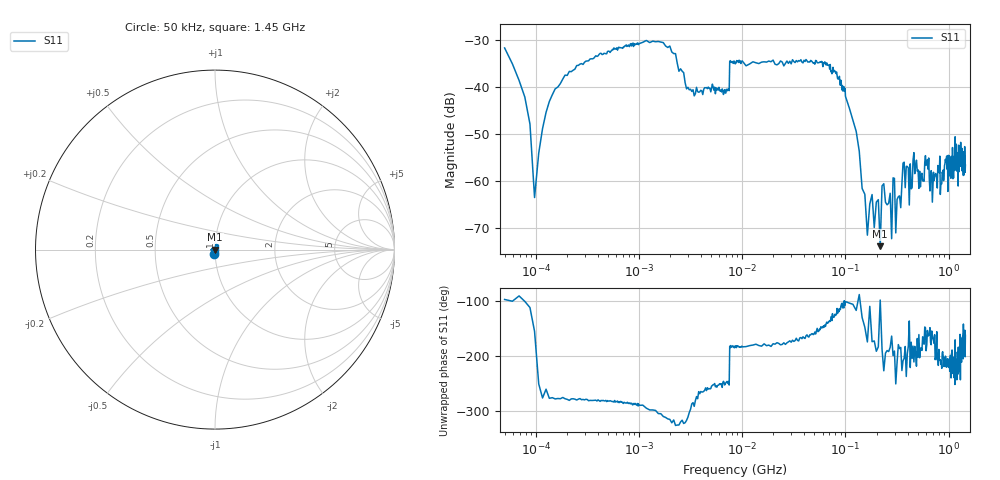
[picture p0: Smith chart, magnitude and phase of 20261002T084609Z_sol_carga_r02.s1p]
! piloto_deriva / sol_carga / r02
# HZ S RI R 50
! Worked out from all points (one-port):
!   501 points, 50 kHz to 1.45 GHz, reference 50 ohm
!   lowest |S11| = -73.9 dB at 217 MHz (marker M1), VSWR 1.00, Z = 50 - j0.0201 ohm
!   |S11| at or under -10 dB: start of sweep to end of sweep
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50000  -0.0029 -0.0261
107000  -0.000671 0.00187
183000  0.00104 0.0122
658000  0.00564 0.0259
1540000  0.0173 0.0254
2440000  0.0122 0.00849
3340000  0.00233 0.00913
6760000  -0.0029 0.00898
7750000  -0.0189 0.000111
8560000  -0.0178 0.000475
3.16e7  -0.0187 -0.00238
7.75e7  -0.00947 -0.0118
1.18e8  -0.00117 -0.00432
1.72e8  -0.000185 -0.000541
2.17e8  -2.6e-05 -0.000201
3.25e8  -0.000682 -1.7e-05
3.7e8  -0.00146 0.000636
4.06e8  -0.00138 4.4e-05
4.69e8  -0.0012 3.7e-05
5.5e8  -0.0012 0.000193
6.04e8  -0.00145 0.000248
6.76e8  -0.00129 -2.7e-05
8.02e8  -0.00126 0.000162
8.47e8  -0.000811 0.000454
9.37e8  -0.00149 0.000597
1.225e9  -0.000866 0.00113
1.3015e9  -0.00223 0.00076
1.45e9  -0.00141 -0.000466
